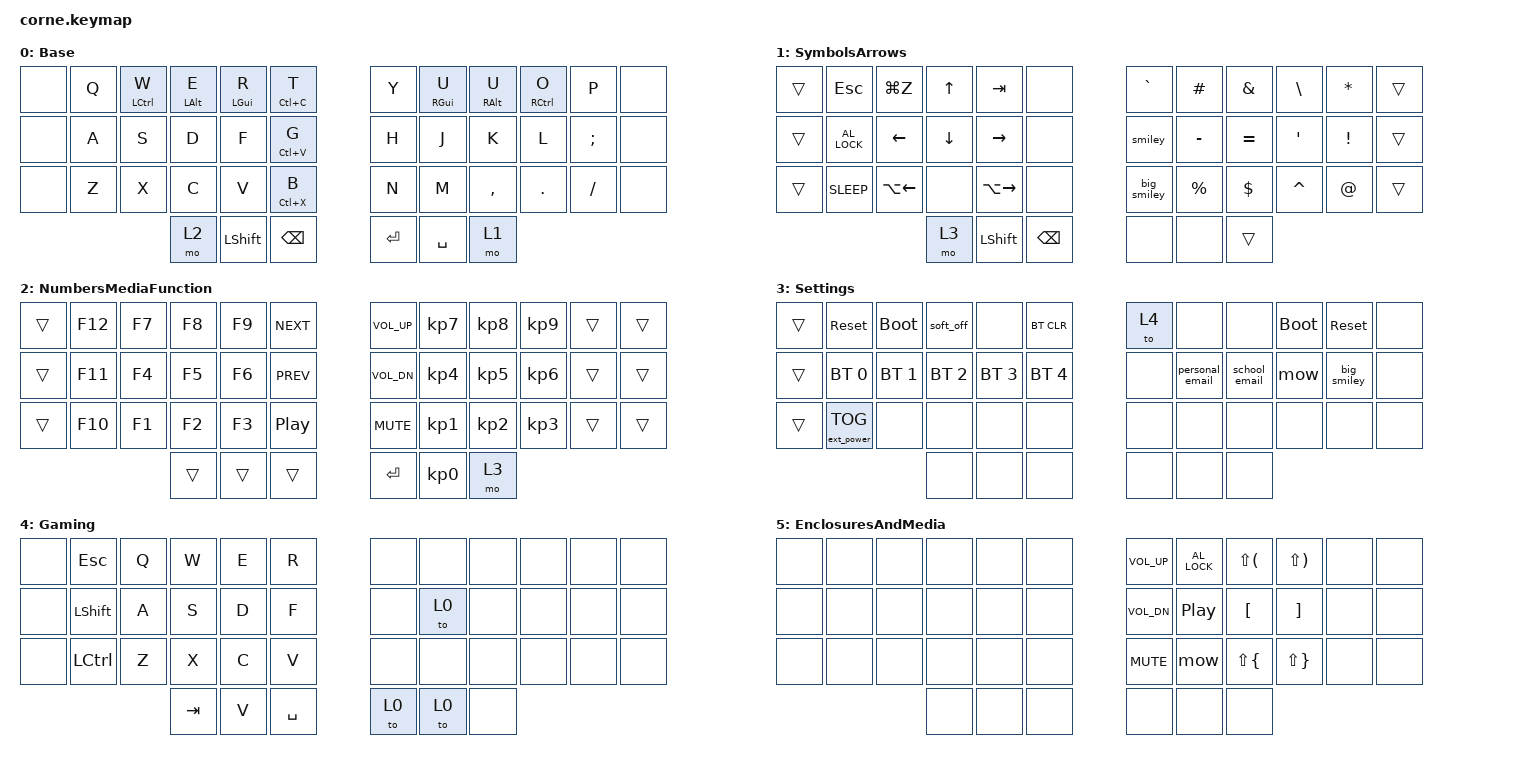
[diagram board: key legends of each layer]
/*
 * Copyright (c) 2020 The ZMK Contributors
 *
 * SPDX-License-Identifier: MIT
 */

#include <behaviors.dtsi>
#include <dt-bindings/zmk/bt.h>
#include <dt-bindings/zmk/ext_power.h>
#include <dt-bindings/zmk/keys.h>

/ {
    combos {
        compatible = "zmk,combos";

        SpotlightSearch {
            bindings = <&kp LG(SPACE)>;
            key-positions = <37 40>;
        };

        Enclosures {
            bindings = <&mo 5>;
            key-positions = <40 41>;
        };
    };

    macros {
        personal_email: email {
            compatible = "zmk,behavior-macro";
            #binding-cells = <0>;
            bindings = <&kp O &kp P &kp T &kp I &kp M &kp U &kp S &kp J &kp O &kp N &kp A &kp H &kp AT &kp G &kp M &kp A &kp I &kp L &kp DOT &kp C &kp O &kp M>;
            label = "EMAIL";
        };

        school_email: school_email {
            compatible = "zmk,behavior-macro";
            #binding-cells = <0>;
            bindings = <&kp LS(H) &kp A &kp P &kp P &kp Y &kp SPACE &kp LS(B) &kp I &kp R &kp T &kp H &kp D &kp A &kp Y &kp EXCL &kp EXCL &kp EXCL &kp SPACE &kp COLON &kp LS(D)>;
            label = "SCHOOL_EMAIL";
        };

        smiley: smiley {
            compatible = "zmk,behavior-macro";
            #binding-cells = <0>;
            bindings = <&kp COLON &kp RIGHT_PARENTHESIS>;
            label = "SMILEY";
        };

        big_smiley: big_smiley {
            compatible = "zmk,behavior-macro";
            #binding-cells = <0>;
            bindings = <&kp COLON &kp LS(D)>;
            label = "BIG_SMILEY";
        };

        mow: mow {
            compatible = "zmk,behavior-macro";
            #binding-cells = <0>;
            bindings = <&kp COLON &kp NUMBER_3>;
            label = "MOW";
        };
    };

    keymap {
        compatible = "zmk,keymap";

        Base {
            // -----------------------------------------------------------------------------------------
            // |  TAB |  Q  |  W  |  E  |  R  |  T  |   |  Y  |  U   |  I  |  O  |  P  | BSPC |
            // | CTRL |  A  |  S  |  D  |  F  |  G  |   |  H  |  J   |  K  |  L  |  ;  |  '   |
            // | SHFT |  Z  |  X  |  C  |  V  |  B  |   |  N  |  M   |  ,  |  .  |  /  | ESC  |
            //                    | GUI | LWR | SPC |   | ENT | RSE  | ALT |

            bindings = <
&none  &kp Q  &mt LEFT_CONTROL W  &mt LEFT_ALT E  &mt LEFT_GUI R  &mt LC(C) T      &kp Y      &mt RIGHT_GUI U  &mt RIGHT_ALT U  &mt RIGHT_CONTROL O  &kp P     &none
&none  &kp A  &kp S               &kp D           &kp F           &mt LC(V) G      &kp H      &kp J            &kp K            &kp L                &kp SEMI  &none
&none  &kp Z  &kp X               &kp C           &kp V           &mt LC(X) B      &kp N      &kp M            &kp COMMA        &kp DOT              &kp FSLH  &none
                                  &mo 2           &kp LEFT_SHIFT  &kp BACKSPACE    &kp ENTER  &kp SPACE        &mo 1
            >;
        };

        SymbolsArrows {
            bindings = <
&trans  &kp ESCAPE     &kp LG(Z)       &kp UP_ARROW    &kp TAB          &none            &kp GRAVE    &kp HASH     &kp AMPERSAND  &kp BACKSLASH  &kp ASTERISK     &trans
&trans  &kp C_AL_LOCK  &kp LEFT_ARROW  &kp DOWN_ARROW  &kp RIGHT_ARROW  &none            &smiley      &kp MINUS    &kp EQUAL      &kp SQT        &kp EXCLAMATION  &trans
&trans  &kp C_SLEEP    &kp LA(LEFT)    &none           &kp LA(RIGHT)    &none            &big_smiley  &kp PERCENT  &kp DOLLAR     &kp CARET      &kp AT_SIGN      &trans
                                       &mo 3           &kp LEFT_SHIFT   &kp BACKSPACE    &none        &none        &trans
            >;
        };

        NumbersMediaFunction {
            // -----------------------------------------------------------------------------------------
            // |  TAB |  1  |  2  |  3  |  4  |  5  |   |  6  |  7  |  8  |  9  |  0  | BSPC |
            // | BTCLR| BT1 | BT2 | BT3 | BT4 | BT5 |   | LFT | DWN |  UP | RGT |     |      |
            // | SHFT |     |     |     |     |     |   |     |     |     |     |     |      |
            //                    | GUI |     | SPC |   | ENT |     | ALT |

            bindings = <
&trans  &kp F12  &kp F7  &kp F8  &kp F9  &kp C_NEXT          &kp C_VOLUME_UP  &kp KP_NUMBER_7  &kp KP_NUMBER_8  &kp KP_NUMBER_9  &trans  &trans
&trans  &kp F11  &kp F4  &kp F5  &kp F6  &kp C_PREV          &kp C_VOL_DN     &kp KP_NUMBER_4  &kp KP_NUMBER_5  &kp KP_NUMBER_6  &trans  &trans
&trans  &kp F10  &kp F1  &kp F2  &kp F3  &kp C_PLAY_PAUSE    &kp C_MUTE       &kp KP_NUMBER_1  &kp KP_NUMBER_2  &kp KP_NUMBER_3  &trans  &trans
                         &trans  &trans  &trans              &kp RET          &kp KP_NUMBER_0  &mo 3
            >;
        };

        Settings {
            // -----------------------------------------------------------------------------------------
            // |  TAB |  !  |  @  |  #  |  $  |  %  |   |  ^  |  &  |  *  |  (  |  )  | BSPC |
            // | CTRL |     |     |     |     |     |   |  -  |  =  |  [  |  ]  |  \  |  `   |
            // | SHFT |     |     |     |     |     |   |  _  |  +  |  {  |  }  | "|" |  ~   |
            //                    | GUI |     | SPC |   | ENT |     | ALT |

            bindings = <
&trans  &sys_reset         &bootloader   &soft_off     &none         &bt BT_CLR      &to 4  &none            &none          &bootloader  &sys_reset   &none
&trans  &bt BT_SEL 0       &bt BT_SEL 1  &bt BT_SEL 2  &bt BT_SEL 3  &bt BT_SEL 4    &none  &personal_email  &school_email  &mow         &big_smiley  &none
&trans  &ext_power EP_TOG  &none         &none         &none         &none           &none  &none            &none          &none        &none        &none
                                         &none         &none         &none           &none  &none            &none
            >;
        };

        Gaming {
            bindings = <
&none  &kp ESC           &kp Q  &kp W    &kp E  &kp R        &none  &none  &none  &none  &none  &none
&none  &kp LSHFT         &kp A  &kp S    &kp D  &kp F        &none  &to 0  &none  &none  &none  &none
&none  &kp LEFT_CONTROL  &kp Z  &kp X    &kp C  &kp V        &none  &none  &none  &none  &none  &none
                                &kp TAB  &kp V  &kp SPACE    &to 0  &to 0  &none
            >;
        };

        EnclosuresAndMedia {
            bindings = <
&none  &none  &none  &none  &none  &none    &kp C_VOL_UP  &kp C_AL_LOCK     &kp LS(LPAR)  &kp LS(RPAR)  &none  &none
&none  &none  &none  &none  &none  &none    &kp C_VOL_DN  &kp C_PLAY_PAUSE  &kp LBKT      &kp RBKT      &none  &none
&none  &none  &none  &none  &none  &none    &kp C_MUTE    &mow              &kp LS(LBRC)  &kp LS(RBRC)  &none  &none
                     &none  &none  &none    &none         &none             &none
            >;
        };
    };
};
